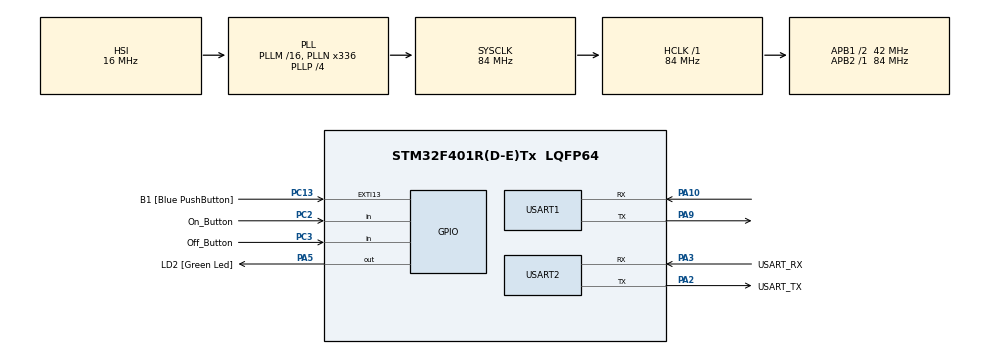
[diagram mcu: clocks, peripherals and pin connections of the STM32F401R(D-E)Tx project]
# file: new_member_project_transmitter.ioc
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Mcu.Family=STM32F4
Mcu.Name=STM32F401R(D-E)Tx
Mcu.Package=LQFP64
NVIC.PriorityGroup=NVIC_PRIORITYGROUP_0
PA10.Mode=Asynchronous
PA10.Signal=USART1_RX
PA13.GPIO_Label=TMS
PA13.Mode=Serial_Wire
PA13.Signal=SYS_JTMS-SWDIO
PA14.GPIO_Label=TCK
PA14.Mode=Serial_Wire
PA14.Signal=SYS_JTCK-SWCLK
PA2.GPIO_Label=USART_TX
PA2.GPIO_Mode=GPIO_MODE_AF_PP
PA2.GPIO_PuPd=GPIO_NOPULL
PA2.GPIO_Speed=GPIO_SPEED_FREQ_LOW
PA2.Mode=Asynchronous
PA2.Signal=USART2_TX
PA3.GPIO_Label=USART_RX
PA3.GPIO_Mode=GPIO_MODE_AF_PP
PA3.GPIO_PuPd=GPIO_NOPULL
PA3.GPIO_Speed=GPIO_SPEED_FREQ_LOW
PA3.Mode=Asynchronous
PA3.Signal=USART2_RX
PA5.GPIO_Label=LD2 [Green Led]
PA5.GPIO_Mode=GPIO_MODE_OUTPUT_PP
PA5.GPIO_PuPd=GPIO_NOPULL
PA5.GPIO_Speed=GPIO_SPEED_FREQ_LOW
PA5.Signal=GPIO_Output
PA9.Mode=Asynchronous
PA9.Signal=USART1_TX
PB3.GPIO_Label=SWO
PB3.Signal=SYS_JTDO-SWO
PC13-ANTI_TAMP.GPIO_Label=B1 [Blue PushButton]
PC13-ANTI_TAMP.GPIO_ModeDefaultEXTI=GPIO_MODE_IT_FALLING
PC13-ANTI_TAMP.GPIO_PuPd=GPIO_NOPULL
PC13-ANTI_TAMP.Signal=GPXTI13
PC14-OSC32_IN.Mode=LSE-External-Oscillator
PC14-OSC32_IN.Signal=RCC_OSC32_IN
PC15-OSC32_OUT.Mode=LSE-External-Oscillator
PC15-OSC32_OUT.Signal=RCC_OSC32_OUT
PC2.GPIO_Label=On_Button
PC2.GPIO_PuPd=GPIO_PULLUP
PC2.Signal=GPIO_Input
PC3.GPIO_Label=Off_Button
PC3.GPIO_PuPd=GPIO_PULLUP
PC3.Signal=GPIO_Input
PH0\ -\ OSC_IN.Mode=HSE-External-Clock-Source
PH0\ -\ OSC_IN.Signal=RCC_OSC_IN
PH1\ -\ OSC_OUT.Mode=HSE-External-Clock-Source
PH1\ -\ OSC_OUT.Signal=RCC_OSC_OUT
ProjectManager.HeapSize=0x200
ProjectManager.StackSize=0x400
ProjectManager.TargetToolchain=STM32CubeIDE
RCC.48MHZClocksFreq_Value=48000000
RCC.AHBFreq_Value=84000000
RCC.APB1CLKDivider=RCC_HCLK_DIV2
RCC.APB1Freq_Value=42000000
RCC.APB1TimFreq_Value=84000000
RCC.APB2Freq_Value=84000000
RCC.APB2TimFreq_Value=84000000
RCC.CortexFreq_Value=84000000
RCC.HCLKFreq_Value=84000000
RCC.HSE_VALUE=8000000
RCC.HSI_VALUE=16000000
RCC.PLLN=336
RCC.PLLP=RCC_PLLP_DIV4
RCC.PLLQ=7
RCC.SYSCLKFreq_VALUE=84000000
RCC.SYSCLKSource=RCC_SYSCLKSOURCE_PLLCLK
RCC.VCOOutputFreq_Value=336000000
USART1.VirtualMode=VM_ASYNC
USART2.VirtualMode=VM_ASYNC
board=NUCLEO-F401RE

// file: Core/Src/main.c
/* USER CODE BEGIN Header */
/**
  ******************************************************************************
  * @file           : main.c
  * @brief          : Main program body
  ******************************************************************************
  * @attention
  *
  * Copyright (c) 2024 STMicroelectronics.
  * All rights reserved.
  *
  * This software is licensed under terms that can be found in the LICENSE file
  * in the root directory of this software component.
  * If no LICENSE file comes with this software, it is provided AS-IS.
  *
  ******************************************************************************
  */
/* USER CODE END Header */
#include "main.h"

/* USER CODE BEGIN Includes */
#include "stdbool.h"

/* USER CODE END Includes */

UART_HandleTypeDef huart1;
UART_HandleTypeDef huart2;

void SystemClock_Config(void);
static void MX_GPIO_Init(void);
static void MX_USART2_UART_Init(void);
static void MX_USART1_UART_Init(void);

/* USER CODE BEGIN 0 */
bool state1,state2;
uint8_t on='1';
uint8_t off='0';
void tick_on_button2(){
	state1=HAL_GPIO_ReadPin(On_Button_GPIO_Port, On_Button_Pin);
	if(!state1){
		HAL_UART_Transmit(&huart1, &on, 1, 10);
		HAL_GPIO_TogglePin(LD2_GPIO_Port, LD2_Pin);
		HAL_Delay(300);
	}
}
void tick_on_button3(){
	state2=	HAL_GPIO_ReadPin(Off_Button_GPIO_Port, Off_Button_Pin);
	if(!state2){
		HAL_UART_Transmit(&huart1, &off, 1, 10);
		HAL_GPIO_TogglePin(LD2_GPIO_Port, LD2_Pin);
		HAL_Delay(300);
	}

}
/* USER CODE END 0 */

int main(void)
{

  /* MCU Configuration--------------------------------------------------------*/

  /* Reset of all peripherals, Initializes the Flash interface and the Systick. */
  HAL_Init();

  /* Configure the system clock */
  SystemClock_Config();

  /* Initialize all configured peripherals */
  MX_GPIO_Init();
  MX_USART2_UART_Init();
  MX_USART1_UART_Init();

  /* Infinite loop */
  while (1)
  {

    /* USER CODE BEGIN 3 */
	  tick_on_button2();
	  	  tick_on_button3();
  }
  /* USER CODE END 3 */
}

void SystemClock_Config(void)
{
  RCC_OscInitTypeDef RCC_OscInitStruct = {0};
  RCC_ClkInitTypeDef RCC_ClkInitStruct = {0};

  /** Configure the main internal regulator output voltage
  */
  __HAL_RCC_PWR_CLK_ENABLE();
  __HAL_PWR_VOLTAGESCALING_CONFIG(PWR_REGULATOR_VOLTAGE_SCALE2);

  /** Initializes the RCC Oscillators according to the specified parameters
  * in the RCC_OscInitTypeDef structure.
  */
  RCC_OscInitStruct.OscillatorType = RCC_OSCILLATORTYPE_HSI;
  RCC_OscInitStruct.HSIState = RCC_HSI_ON;
  RCC_OscInitStruct.HSICalibrationValue = RCC_HSICALIBRATION_DEFAULT;
  RCC_OscInitStruct.PLL.PLLState = RCC_PLL_ON;
  RCC_OscInitStruct.PLL.PLLSource = RCC_PLLSOURCE_HSI;
  RCC_OscInitStruct.PLL.PLLM = 16;
  RCC_OscInitStruct.PLL.PLLN = 336;
  RCC_OscInitStruct.PLL.PLLP = RCC_PLLP_DIV4;
  RCC_OscInitStruct.PLL.PLLQ = 7;
  if (HAL_RCC_OscConfig(&RCC_OscInitStruct) != HAL_OK)
  {
    Error_Handler();
  }

  /** Initializes the CPU, AHB and APB buses clocks
  */
  RCC_ClkInitStruct.ClockType = RCC_CLOCKTYPE_HCLK|RCC_CLOCKTYPE_SYSCLK
                              |RCC_CLOCKTYPE_PCLK1|RCC_CLOCKTYPE_PCLK2;
  RCC_ClkInitStruct.SYSCLKSource = RCC_SYSCLKSOURCE_PLLCLK;
  RCC_ClkInitStruct.AHBCLKDivider = RCC_SYSCLK_DIV1;
  RCC_ClkInitStruct.APB1CLKDivider = RCC_HCLK_DIV2;
  RCC_ClkInitStruct.APB2CLKDivider = RCC_HCLK_DIV1;

  if (HAL_RCC_ClockConfig(&RCC_ClkInitStruct, FLASH_LATENCY_2) != HAL_OK)
  {
    Error_Handler();
  }
}

static void MX_USART1_UART_Init(void)
{

  huart1.Instance = USART1;
  huart1.Init.BaudRate = 115200;
  huart1.Init.WordLength = UART_WORDLENGTH_8B;
  huart1.Init.StopBits = UART_STOPBITS_1;
  huart1.Init.Parity = UART_PARITY_NONE;
  huart1.Init.Mode = UART_MODE_TX_RX;
  huart1.Init.HwFlowCtl = UART_HWCONTROL_NONE;
  huart1.Init.OverSampling = UART_OVERSAMPLING_16;
  if (HAL_UART_Init(&huart1) != HAL_OK)
  {
    Error_Handler();
  }

}

static void MX_USART2_UART_Init(void)
{

  huart2.Instance = USART2;
  huart2.Init.BaudRate = 115200;
  huart2.Init.WordLength = UART_WORDLENGTH_8B;
  huart2.Init.StopBits = UART_STOPBITS_1;
  huart2.Init.Parity = UART_PARITY_NONE;
  huart2.Init.Mode = UART_MODE_TX_RX;
  huart2.Init.HwFlowCtl = UART_HWCONTROL_NONE;
  huart2.Init.OverSampling = UART_OVERSAMPLING_16;
  if (HAL_UART_Init(&huart2) != HAL_OK)
  {
    Error_Handler();
  }

}

static void MX_GPIO_Init(void)
{
  GPIO_InitTypeDef GPIO_InitStruct = {0};

  /* GPIO Ports Clock Enable */
  __HAL_RCC_GPIOC_CLK_ENABLE();
  __HAL_RCC_GPIOH_CLK_ENABLE();
  __HAL_RCC_GPIOA_CLK_ENABLE();
  __HAL_RCC_GPIOB_CLK_ENABLE();

  /*Configure GPIO pin Output Level */
  HAL_GPIO_WritePin(LD2_GPIO_Port, LD2_Pin, GPIO_PIN_RESET);

  /*Configure GPIO pin : B1_Pin */
  GPIO_InitStruct.Pin = B1_Pin;
  GPIO_InitStruct.Mode = GPIO_MODE_IT_FALLING;
  GPIO_InitStruct.Pull = GPIO_NOPULL;
  HAL_GPIO_Init(B1_GPIO_Port, &GPIO_InitStruct);

  /*Configure GPIO pins : On_Button_Pin Off_Button_Pin */
  GPIO_InitStruct.Pin = On_Button_Pin|Off_Button_Pin;
  GPIO_InitStruct.Mode = GPIO_MODE_INPUT;
  GPIO_InitStruct.Pull = GPIO_PULLUP;
  HAL_GPIO_Init(GPIOC, &GPIO_InitStruct);

  /*Configure GPIO pin : LD2_Pin */
  GPIO_InitStruct.Pin = LD2_Pin;
  GPIO_InitStruct.Mode = GPIO_MODE_OUTPUT_PP;
  GPIO_InitStruct.Pull = GPIO_NOPULL;
  GPIO_InitStruct.Speed = GPIO_SPEED_FREQ_LOW;
  HAL_GPIO_Init(LD2_GPIO_Port, &GPIO_InitStruct);

}

void Error_Handler(void)
{
  __disable_irq();
  while (1)
  {
  }
}
